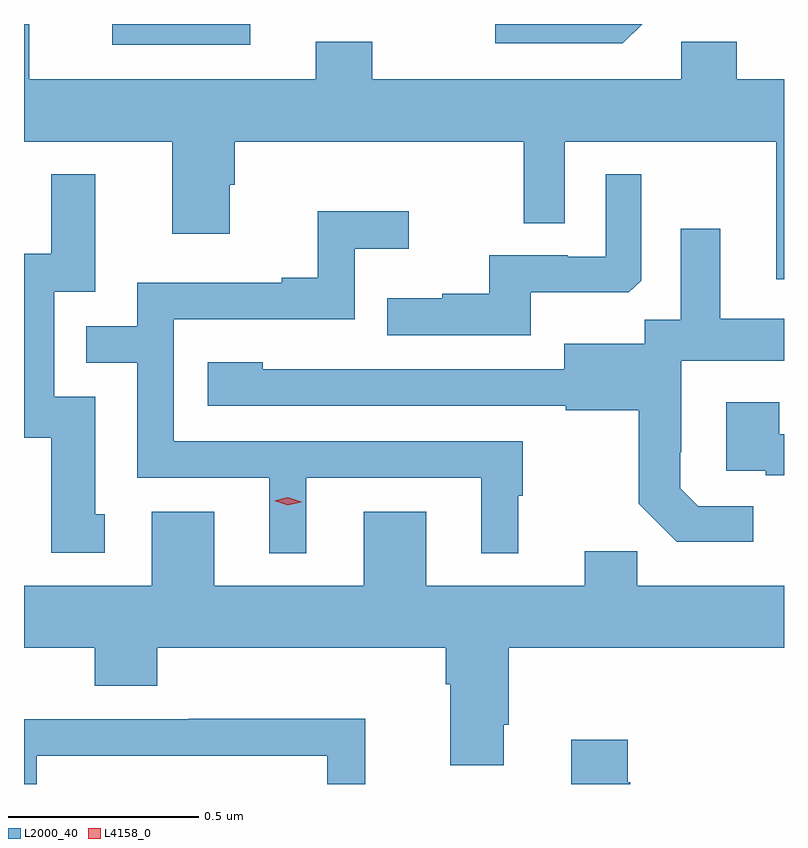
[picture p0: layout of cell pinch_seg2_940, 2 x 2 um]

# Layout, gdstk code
import gdstk
lib = gdstk.Library(unit=1e-6, precision=1e-09)
def R(c, l, rs):  # rectangles x0, y0, x1, y1
    for r in rs: c.add(gdstk.rectangle(r[:2], r[2:], *l))
def P(c, l, *ps):  # polygons
    for p in ps: c.add(gdstk.Polygon(p, *l))
L2000_40 = (2000, 40)
L4158_0 = (4158, 0)

pinch_seg2_940 = lib.new_cell('pinch_seg2_940')
R(pinch_seg2_940, L2000_40, [(438.093,643.896,438.457,643.95)])
P(pinch_seg2_940, L2000_40, [(439.861,643.804),(439.737,643.804),(439.737,643.903),(439.59,643.903),(439.59,643.804),(438.777,643.804),(438.777,643.903),(438.629,643.903),(438.629,643.804),(437.875,643.804),(437.875,643.95),(437.861,643.95),(437.861,643.64),(438.251,643.64),(438.251,643.398),(438.403,643.398),(438.403,643.527),(438.416,643.527),(438.416,643.64),(439.176,643.64),(439.176,643.426),(439.284,643.426),(439.284,643.64),(439.841,643.64),(439.841,643.278),(439.861,643.278)],
  [(439.488,643.95),(439.101,643.95),(439.101,643.899),(439.437,643.899)],
  [(439.195,643.244),(439.453,643.244),(439.485,643.275),(439.485,643.555),(439.392,643.555),(439.392,643.338),(439.292,643.338),(439.292,643.341),(439.085,643.341),(439.085,643.24),(438.961,643.24),(438.961,643.228),(438.817,643.228),(438.817,643.131),(439.195,643.131)],
  [(438.073,642.66),(438.049,642.66),(438.049,642.969),(437.94,642.969),(437.94,643.245),(438.049,643.245),(438.049,643.555),(437.933,643.555),(437.933,643.346),(437.861,643.346),(437.861,642.861),(437.933,642.861),(437.933,642.558),(438.073,642.558)],
  [(438.604,642.756),(439.064,642.756),(439.064,642.557),(439.162,642.557),(439.162,642.708),(439.174,642.708),(439.174,642.852),(438.255,642.852),(438.255,643.173),(438.732,643.173),(438.732,643.358),(438.874,643.358),(438.874,643.457),(438.634,643.457),(438.634,643.282),(438.539,643.282),(438.539,643.269),(438.159,643.269),(438.159,643.155),(438.025,643.155),(438.025,643.059),(438.159,643.059),(438.159,642.756),(438.506,642.756),(438.506,642.557),(438.604,642.557)],
  [(439.78,642.681),(439.635,642.681),(439.588,642.728),(439.588,642.823),(439.59,642.823),(439.59,643.064),(439.861,643.064),(439.861,643.174),(439.693,643.174),(439.693,643.411),(439.589,643.411),(439.589,643.172),(439.494,643.172),(439.494,643.108),(439.283,643.108),(439.283,643.041),(438.725,643.041),(438.725,643.042),(438.489,643.042),(438.489,643.06),(438.345,643.06),(438.345,642.945),(439.287,642.945),(439.287,642.933),(439.479,642.933),(439.479,642.687),(439.579,642.587),(439.78,642.587)],
  [(439.861,642.87),(439.849,642.87),(439.849,642.955),(439.709,642.955),(439.709,642.774),(439.813,642.774),(439.813,642.762),(439.861,642.762)],
  [(439.123,642.106),(439.136,642.106),(439.136,642.308),(439.861,642.308),(439.861,642.472),(439.475,642.472),(439.475,642.563),(439.337,642.563),(439.337,642.472),(438.919,642.472),(438.919,642.667),(438.755,642.667),(438.755,642.472),(438.361,642.472),(438.361,642.667),(438.197,642.667),(438.197,642.472),(437.861,642.472),(437.861,642.308),(438.047,642.308),(438.047,642.209),(438.212,642.209),(438.212,642.308),(438.971,642.308),(438.971,642.212),(438.983,642.212),(438.983,641.999),(439.123,641.999)],
  [(437.895,642.024),(438.659,642.024),(438.659,641.95),(438.759,641.95),(438.759,642.122),(438.295,642.122),(438.295,642.12),(437.861,642.12),(437.861,641.95),(437.895,641.95)],
  [(439.457,641.954),(439.45,641.954),(439.45,642.067),(439.301,642.067),(439.301,641.95),(439.457,641.95)])
P(pinch_seg2_940, L4158_0, [(438.555,642.684),(438.519,642.695),(438.519,642.695),(438.519,642.695),(438.555,642.704),(438.591,642.693),(438.591,642.692),(438.591,642.692)])

lib.write_gds('pinch_seg2_940.gds')
